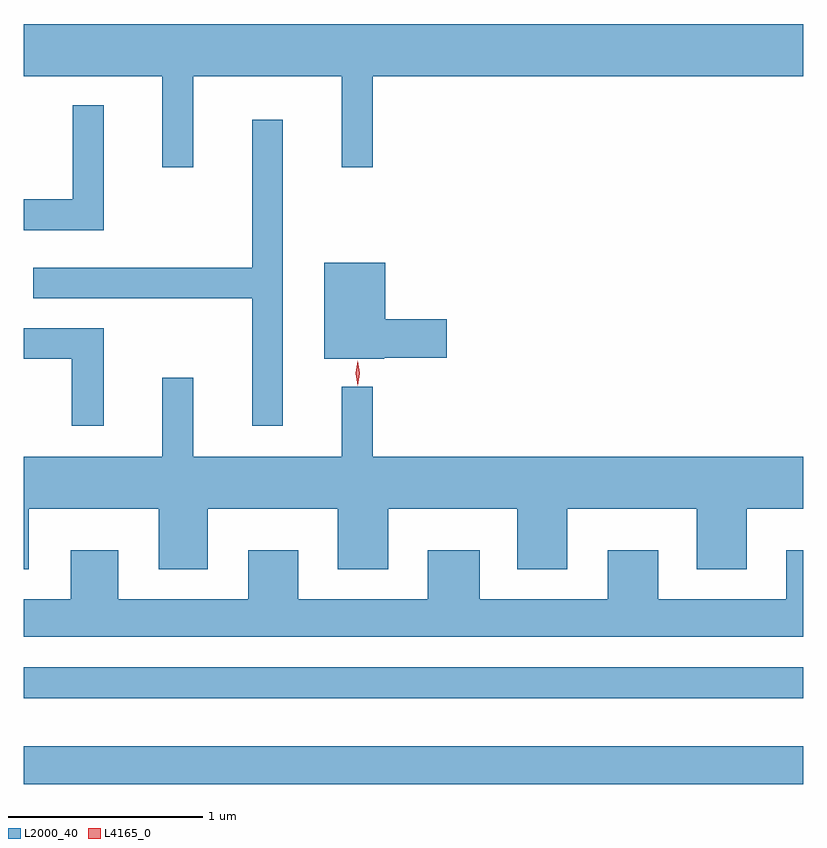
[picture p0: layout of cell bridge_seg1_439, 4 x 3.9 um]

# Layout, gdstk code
import gdstk
lib = gdstk.Library(unit=1e-6, precision=1e-09)
def R(c, l, rs):  # rectangles x0, y0, x1, y1
    for r in rs: c.add(gdstk.rectangle(r[:2], r[2:], *l))
def P(c, l, *ps):  # polygons
    for p in ps: c.add(gdstk.Polygon(p, *l))
L2000_40 = (2000, 40)
L4165_0 = (4165, 0)

bridge_seg1_439 = lib.new_cell('bridge_seg1_439')
R(bridge_seg1_439, L2000_40, [(345.734,849.325,349.734,849.519), (345.734,849.766,349.734,849.924)])
P(bridge_seg1_439, L2000_40, [(346.604,852.956),(347.366,852.956),(347.366,852.488),(347.524,852.488),(347.524,852.956),(349.734,852.956),(349.734,853.224),(345.734,853.224),(345.734,852.956),(346.446,852.956),(346.446,852.488),(346.604,852.488)],
  [(346.144,852.808),(345.986,852.808),(345.986,852.324),(345.734,852.324),(345.734,852.166),(346.144,852.166)],
  [(347.064,852.733),(346.906,852.733),(346.906,851.974),(345.783,851.974),(345.783,851.816),(346.906,851.816),(346.906,851.163),(347.064,851.163)],
  [(347.585,851.511),(347.904,851.511),(347.904,851.709),(347.589,851.709),(347.589,851.999),(347.276,851.999),(347.276,851.506),(347.585,851.506)],
  [(346.144,851.664),(345.734,851.664),(345.734,851.506),(345.981,851.506),(345.981,851.163),(346.144,851.163)],
  [(345.759,850.736),(346.426,850.736),(346.426,850.426),(346.679,850.426),(346.679,850.736),(347.346,850.736),(347.346,850.426),(347.604,850.426),(347.604,850.736),(348.266,850.736),(348.266,850.426),(348.524,850.426),(348.524,850.736),(349.186,850.736),(349.186,850.426),(349.444,850.426),(349.444,850.736),(349.734,850.736),(349.734,851.004),(347.524,851.004),(347.524,851.363),(347.366,851.363),(347.366,851.004),(346.604,851.004),(346.604,851.408),(346.446,851.408),(346.446,851.004),(345.734,851.004),(345.734,850.426),(345.759,850.426)],
  [(349.734,850.524),(349.646,850.524),(349.646,850.274),(348.989,850.274),(348.989,850.524),(348.731,850.524),(348.731,850.274),(348.074,850.274),(348.074,850.524),(347.806,850.524),(347.806,850.274),(347.144,850.274),(347.144,850.524),(346.886,850.524),(346.886,850.274),(346.219,850.274),(346.219,850.524),(345.976,850.524),(345.976,850.274),(345.734,850.274),(345.734,850.081),(349.734,850.081)])
P(bridge_seg1_439, L4165_0, [(347.447,851.369),(347.438,851.433),(347.448,851.496),(347.449,851.497),(347.449,851.496),(347.458,851.433),(347.448,851.369),(347.448,851.369)])

lib.write_gds('bridge_seg1_439.gds')
